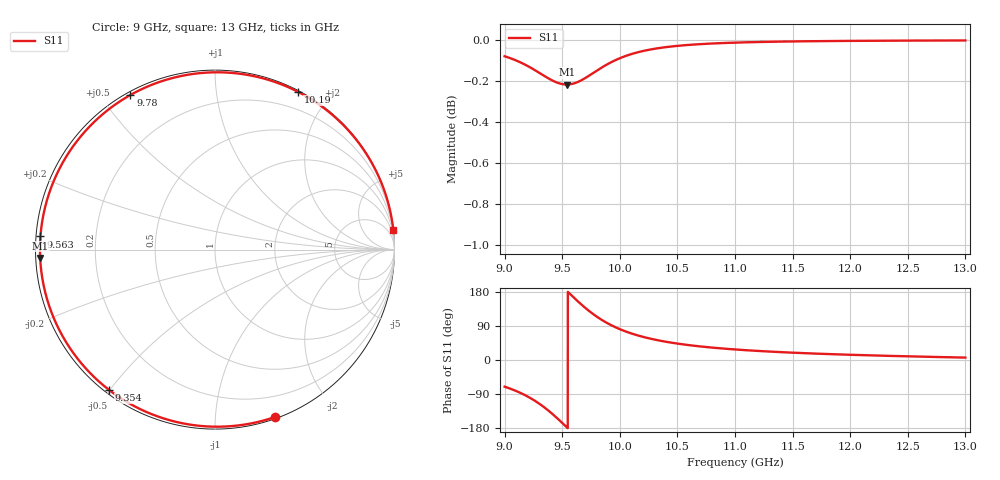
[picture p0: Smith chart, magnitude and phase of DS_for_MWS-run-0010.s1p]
! TOUCHSTONE file generated by CST DESIGN STUDIO
! Date and time: Tue Feb  4 12:24:12 2025
! Project name: C:\Work\MatlabApps\UnitCellOptimizationMatlab\CST\unitcell.cst
! Tree item: Tasks\Sweep1\SPara1\S-Parameters
! Header version: 2024
! Port assignment regex: !\s*Touchstone port\s*([0-9]+)\s*=\s*(CST MWS port|CST DES external port|CST DES block port)\s*(.+)\s* \(\"(.*)\"\)(\s*mode\s*([0-9]+))?.*
! Touchstone port assignment:
! Touchstone port 1 = CST DES external port 1 ("")
# GHz S MA R 50
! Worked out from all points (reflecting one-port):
!   4001 points, 9 GHz to 13 GHz, reference 50 ohm
!   lowest |S11| = -0.2 dB at 9.539 GHz (marker M1), VSWR 79.62, Z = 0.628 - j1.19 ohm
!   phase of S11 starts at -70 deg and turns -283 deg over the sweep
!   S11 on the Smith chart (normalised r, x): 9 GHz: 0.01, -1.42; 9.354 GHz: 0.01, -0.50; 9.563 GHz: 0.01, +0.04; 9.78 GHz: 0.01, +0.59; 10.19 GHz: 0.01, +1.66; 13 GHz: 0, +18
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9  0.9907 -70.4
9.1  0.9884 -81.8
9.209  0.985 -97.9
9.285  0.9822 -112.0
9.354  0.9795 -127.1
9.424  0.9771 -144.8
9.464  0.976 -155.7
9.5  0.9754 -165.9
9.539  0.9752 -177.3
9.563  0.9753 175.7
9.618  0.9761 159.8
9.678  0.9779 143.3
9.729  0.9799 130.4
9.78  0.982 118.7
9.827  0.9839 109.0
9.878  0.9858 99.6
9.935  0.9877 90.4
10  0.9896 81.4
10.09  0.9917 71.1
10.187  0.9934 62.2
10.33  0.9952 52.1
10.5  0.9965 43.3
10.721  0.9976 35.1
11  0.9983 27.8
11.5  0.999 19.3
12  0.9993 13.8
12.5  0.9994 9.7
13  0.9995 6.4
